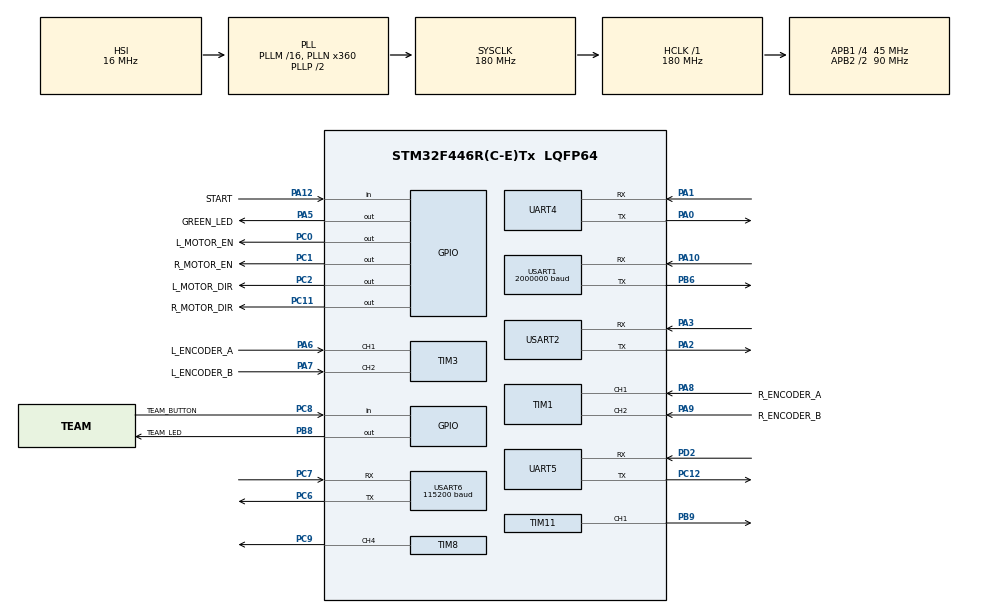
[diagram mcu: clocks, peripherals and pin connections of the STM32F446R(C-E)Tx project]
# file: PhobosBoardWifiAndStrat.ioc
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Mcu.Family=STM32F4
Mcu.Name=STM32F446R(C-E)Tx
Mcu.Package=LQFP64
NVIC.PriorityGroup=NVIC_PRIORITYGROUP_4
NVIC.TIM1_BRK_TIM9_IRQn=true\:0\:0\:false\:false\:true\:true\:true\:true
NVIC.TIM2_IRQn=true\:0\:0\:false\:false\:true\:true\:true\:true
NVIC.TIM4_IRQn=true\:0\:0\:false\:false\:true\:true\:true\:true
NVIC.TIM5_IRQn=true\:0\:0\:false\:false\:true\:true\:true\:true
NVIC.TIM6_DAC_IRQn=true\:0\:0\:false\:false\:true\:true\:true\:true
NVIC.TIM7_IRQn=true\:2\:0\:true\:false\:true\:true\:true\:true
NVIC.UART4_IRQn=true\:0\:0\:false\:false\:true\:true\:true\:true
NVIC.UART5_IRQn=true\:0\:0\:false\:false\:true\:true\:true\:true
NVIC.USART1_IRQn=true\:0\:0\:false\:false\:true\:true\:true\:true
NVIC.USART6_IRQn=true\:0\:0\:false\:false\:true\:true\:true\:true
PA0-WKUP.Mode=Asynchronous
PA0-WKUP.Signal=UART4_TX
PA1.Mode=Asynchronous
PA1.Signal=UART4_RX
PA10.Mode=Asynchronous
PA10.Signal=USART1_RX
PA12.GPIO_Label=START
PA12.GPIO_PuPd=GPIO_PULLDOWN
PA12.Signal=GPIO_Input
PA2.Mode=Asynchronous
PA2.Signal=USART2_TX
PA3.Mode=Asynchronous
PA3.Signal=USART2_RX
PA5.GPIO_Label=GREEN_LED
PA5.Signal=GPIO_Output
PA6.GPIO_Label=L_ENCODER_A
PA6.Signal=S_TIM3_CH1
PA7.GPIO_Label=L_ENCODER_B
PA7.Signal=S_TIM3_CH2
PA8.GPIO_Label=R_ENCODER_A
PA8.Signal=S_TIM1_CH1
PA9.GPIO_Label=R_ENCODER_B
PA9.Signal=S_TIM1_CH2
PB6.Mode=Asynchronous
PB6.Signal=USART1_TX
PB8.GPIO_Label=TEAM_LED
PB8.Signal=GPIO_Output
PB9.Signal=S_TIM11_CH1
PC0.GPIO_Label=L_MOTOR_EN
PC0.Signal=GPIO_Output
PC1.GPIO_Label=R_MOTOR_EN
PC1.Signal=GPIO_Output
PC11.GPIO_Label=R_MOTOR_DIR
PC11.Signal=GPIO_Output
PC12.Mode=Asynchronous
PC12.Signal=UART5_TX
PC2.GPIO_Label=L_MOTOR_DIR
PC2.Signal=GPIO_Output
PC6.Mode=Asynchronous
PC6.Signal=USART6_TX
PC7.Mode=Asynchronous
PC7.Signal=USART6_RX
PC8.GPIO_Label=TEAM_BUTTON
PC8.GPIO_PuPd=GPIO_PULLDOWN
PC8.Signal=GPIO_Input
PC9.Signal=S_TIM8_CH4
PD2.Mode=Asynchronous
PD2.Signal=UART5_RX
ProjectManager.HeapSize=0x200
ProjectManager.StackSize=0x400
ProjectManager.TargetToolchain=STM32CubeIDE
RCC.48MHZClocksFreq_Value=84000000
RCC.AHBFreq_Value=180000000
RCC.APB1CLKDivider=RCC_HCLK_DIV4
RCC.APB1Freq_Value=45000000
RCC.APB1TimFreq_Value=90000000
RCC.APB2CLKDivider=RCC_HCLK_DIV2
RCC.APB2Freq_Value=90000000
RCC.APB2TimFreq_Value=180000000
RCC.CortexFreq_Value=180000000
RCC.FLatency-AdvancedSettings=FLASH_LATENCY_5
RCC.HCLKFreq_Value=180000000
RCC.HSE_VALUE=8000000
RCC.HSI_VALUE=16000000
RCC.PLLN=360
RCC.SYSCLKFreq_VALUE=180000000
RCC.SYSCLKSource=RCC_SYSCLKSOURCE_PLLCLK
RCC.USBFreq_Value=180000000
RCC.VCOOutputFreq_Value=360000000
SH.S_TIM11_CH1.0=TIM11_CH1,PWM Generation1 CH1
SH.S_TIM1_CH1.0=TIM1_CH1,Encoder_Interface
SH.S_TIM1_CH2.0=TIM1_CH2,Encoder_Interface
SH.S_TIM3_CH1.0=TIM3_CH1,Encoder_Interface
SH.S_TIM3_CH2.0=TIM3_CH2,Encoder_Interface
SH.S_TIM8_CH4.0=TIM8_CH4,PWM Generation4 CH4
TIM1.CounterMode=TIM_COUNTERMODE_UP
TIM1.EncoderMode=TIM_ENCODERMODE_TI12
TIM1.IC1Filter=10
TIM11.Channel=TIM_CHANNEL_1
TIM11.Period=1000
TIM11.Prescaler=179
TIM2.Period=999
TIM2.Prescaler=2686
TIM3.AutoReloadPreload=TIM_AUTORELOAD_PRELOAD_ENABLE
TIM3.CounterMode=TIM_COUNTERMODE_UP
TIM3.EncoderMode=TIM_ENCODERMODE_TI12
TIM4.Period=10000-1
TIM4.Prescaler=9000-1
TIM5.Period=90000
TIM5.Prescaler=9
TIM6.Period=99
TIM6.Prescaler=8999
TIM7.AutoReloadPreload=TIM_AUTORELOAD_PRELOAD_DISABLE
TIM7.Period=9999
TIM7.Prescaler=8999
TIM8.AutoReloadPreload=TIM_AUTORELOAD_PRELOAD_DISABLE
TIM8.Channel-PWM\ Generation4\ CH4=TIM_CHANNEL_4
TIM8.Period=1000
TIM8.Prescaler=179
TIM8.Pulse-PWM\ Generation4\ CH4=500
UART4.VirtualMode=Asynchronous
UART5.VirtualMode=Asynchronous
USART1.BaudRate=2000000
USART1.VirtualMode=VM_ASYNC
USART2.VirtualMode=VM_ASYNC
USART6.BaudRate=115200
USART6.Parity=PARITY_NONE
USART6.VirtualMode=VM_ASYNC
VP_TIM11_VS_ClockSourceINT.Mode=Enable_Timer
VP_TIM2_VS_ClockSourceINT.Mode=Internal
VP_TIM4_VS_ClockSourceINT.Mode=Internal
VP_TIM5_VS_ClockSourceINT.Mode=Internal
VP_TIM6_VS_ClockSourceINT.Mode=Enable_Timer
VP_TIM7_VS_ClockSourceINT.Mode=Enable_Timer
VP_TIM8_VS_ClockSourceINT.Mode=Internal
board=NUCLEO-F446RE

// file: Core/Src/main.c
/* USER CODE BEGIN Header */
/**
  ******************************************************************************
  * @file           : main.c
  * @brief          : Main program body
  ******************************************************************************
  * @attention
  *
  * <h2><center>&copy; Copyright (c) 2021 STMicroelectronics.
  * All rights reserved.</center></h2>
  *
  * This software component is licensed by ST under BSD 3-Clause license,
  * the "License"; You may not use this file except in compliance with the
  * License. You may obtain a copy of the License at:
  *                        opensource.org/licenses/BSD-3-Clause
  *
  ******************************************************************************
  */
/* USER CODE END Header */
#include "main.h"
#include "tim.h"
#include "usart.h"
#include "gpio.h"

/* USER CODE BEGIN Includes */
#include "config.h"
#include "propulsion.h"
#include "odometry.h"
#include "robot.h"
#include "bezier.h"
#include "strategy.h"
#include "serial.h"
#include "lidar.h"
#include "avoidance.h"
#include "symetry.h"
#include <stdio.h>
#include <stdlib.h>
#include <math.h>

extern Robot robot;
/* USER CODE END Includes */

void SystemClock_Config(void);
/* USER CODE BEGIN PFP */
#ifdef __GNUC__
#define PUTCHAR_PROTOTYPE int __io_putchar(int ch)
#else
#define PUTCHAR_PROTOTYPE int fputc(int ch, FILE *f)
#endif

PUTCHAR_PROTOTYPE
{
  HAL_UART_Transmit(&huart1, (uint8_t *)&ch, 1, HAL_MAX_DELAY);
  return ch;
}
/* USER CODE END PFP */

/* USER CODE BEGIN 0 */

int _write(int file, char *ptr, int len) {
	int DataIdx;

	for (DataIdx = 0; DataIdx < len; DataIdx++) {
		HAL_UART_Transmit(&huart2, (uint8_t *) ptr++, 1, HAL_MAX_DELAY);
	}
	return len;
}

/* USER CODE END 0 */

int main(void)
{

  /* MCU Configuration--------------------------------------------------------*/

  /* Reset of all peripherals, Initializes the Flash interface and the Systick. */
  HAL_Init();

  /* Configure the system clock */
  SystemClock_Config();

  /* Initialize all configured peripherals */
  MX_GPIO_Init();
  MX_TIM1_Init();
  MX_TIM8_Init();
  MX_TIM11_Init();
  MX_TIM3_Init();
  MX_TIM7_Init();
  MX_TIM2_Init();
  MX_TIM6_Init();
  MX_TIM4_Init();
  MX_USART2_UART_Init();
  MX_TIM5_Init();
  MX_USART6_UART_Init();
  MX_UART4_Init();
  MX_UART5_Init();
  MX_USART1_UART_Init();
  /* USER CODE BEGIN 2 */
  HAL_TIM_Base_Start(&htim1);
  HAL_TIM_Base_Start(&htim3);
  HAL_TIM_Base_Start_IT(&htim5);
  HAL_TIM_Base_Start_IT(&htim4);

  HAL_UART_Receive_IT(&huart4, &lidarData, 1);
  HAL_UART_Receive_IT(&huart6, &armData, 1);
  HAL_UART_Receive_IT(&huart1, &wifiDataRX, 1);
  WifiUartTXActivation(1);

  //HAL_GPIO_TogglePin(GREEN_LED_GPIO_Port, GREEN_LED_Pin);
  printf("Initializing propulsion system...");
  propulsion_initialize();
  propulsion_enableMotors();
  avoidance_initialize();
  HAL_Delay(200);
  printf(" Done.\r\n");

  //HAL_GPIO_TogglePin(GREEN_LED_GPIO_Port, GREEN_LED_Pin);

  robot.waitingForOnSiteAction = false;
  robot.waitingForOnMoveAction = false;
  robot.team = GREEN;
  float t = 0;

  HAL_Delay(200);
  printf(" Done.\r\n");

  //HAL_GPIO_TogglePin(GREEN_LED_GPIO_Port, GREEN_LED_Pin);
  Strategy* strategy;
  int curveIndex = 0;
  int onSiteActionIndex = 0;
  int onMoveActionIndex = 0;

  //HAL_GPIO_TogglePin(GREEN_LED_GPIO_Port, GREEN_LED_Pin);
  printf("Initializing lidar...");
  lidar_initialize();
  HAL_Delay(200);
  printf(" Done.\r\n");

  bool waitingForMatchStart = true;
  printf("Waiting for start...\r\n");
  pData[0] = 'o';
  int a = 0;
  HAL_UART_Receive_IT(&huart6, pData, 1);
  while ((waitingForMatchStart == true)) {
	  if(wifiDataRX==0x84){
		  waitingForMatchStart=0;

		  strategy = strategy_initialize(7);
	  }
	  else{
		  waitingForMatchStart = HAL_GPIO_ReadPin(START_GPIO_Port, START_Pin);
	  }
	  if((pData[0] >= '0' && pData[0] <= '9')  && a == 0)
	  {
		  a = 1;
	  	  switch(pData[0])
	      	{
	  	  	case '0':
	  	  		printf("Initializing strategy...0");
	  	  		strategy = strategy_initialize(0);
	       	    break;
	      	case '1':
	      		printf("Initializing strategy...1");
	      		strategy = strategy_initialize(1);
	            break;
	      	case '2':
	      		printf("Initializing strategy...2");
	      		strategy = strategy_initialize(2);
	      		break;
	        case '3':
	        	printf("Initializing strategy...3");
	        	strategy = strategy_initialize(3);
	        	break;
	        case '4':
	        	printf("Initializing strategy...4");
	        	strategy = strategy_initialize(4);
	        	break;
	        case '5':
	        	printf("Initializing strategy...5");
	        	strategy = strategy_initialize(5);
	        	switchTeam(strategy);
	            break;
	        case '6':
	        	printf("Initializing strategy...6");
	        	strategy = strategy_initialize(6);
	        	switchTeam(strategy);
	        	break;
	        case '7':
	        	printf("Initializing strategy...7");
	        	strategy = strategy_initialize(7);
	        	switchTeam(strategy);
	            break;
	        case '8':
	        	printf("Initializing strategy...8");
	        	strategy = strategy_initialize(8);
	        	switchTeam(strategy);
	        	break;
	        case '9':
	        	printf("Initializing strategy...9");
	        	strategy = strategy_initialize(9);
	        	switchTeam(strategy);
	        	break;
	        default:
	            break;
	      	}
	  }

	  /*if (HAL_GPIO_ReadPin(TEAM_BUTTON_GPIO_Port, TEAM_BUTTON_Pin) && !teamButtonVal) {
		  switchTeam(strategy);
	  }

	  HAL_GPIO_WritePin(TEAM_LED_GPIO_Port, TEAM_LED_Pin, robot.team == BLUE);
	  teamButtonVal = HAL_GPIO_ReadPin(TEAM_BUTTON_GPIO_Port, TEAM_BUTTON_Pin);*/

	  //HAL_Delay(50);
	  //printf("%d\r\n", teamButtonVal);
	  //HAL_GPIO_WritePin(GREEN_LED_GPIO_Port, GREEN_LED_Pin, teamButtonVal);
  }

  printf("Initializing odometry...");
  Vector2 start = strategy->path[0]->p1;
  Vector2 startTangent = strategy->path[0]->p2;
  float startAngle = vector2_angle(vector2_diff(startTangent, start));
  odometry_setPosition(start.x, start.y);
  odometry_setAngle(startAngle);
  robot.measuredSpeed = 0;
  HAL_Delay(200);
  printf(" Done.\r\n");

  printf("Go!\r\n");

  //odometry_setPosition(0, 0);
  //odometry_setAngle(0);

  /* USER CODE END 2 */

  /* Infinite loop */
  /* USER CODE BEGIN WHILE */

  /*while (1) {
	  for (int i=0; i<16; i++) {
		  printf("%d ", i);
		  printf("(%d) ", lidar_timeSinceData[i]);
	  }
	  printf("\r\n");

	  if (!lidar_frontIsClear()) {
		  printf("Front stop!\r\n");
	  }
	  if (!lidar_backIsClear()) {
		  printf("Back stop!\r\n");
	  }

	  HAL_Delay(100);
  }*/

  while (onSiteActionIndex < strategy->onSiteActionsLengths[0]) {
	  /*uint8_t action = strategy->onSiteActions[0][onSiteActionIndex];
	  serial_send(&action, 1, 6);*/
	  //HAL_UART_Transmit(&huart6, strategy->onSiteActions[0], 4, 1);
	  robot.waitingForOnSiteAction = true;

	  printf("Waiting for 0xFF...\r\n");
	  printf("%d\r\n", robot.waitingForOnSiteAction);
	  while (robot.waitingForOnSiteAction) {}
	  printf("%d\r\n", robot.waitingForOnSiteAction);
	  onSiteActionIndex++;
  }

  printf("About to move...\r\n");
  wifiDataTX=0xC0;
  serial_send(&wifiDataTX,1,1);
  while (1) {
	  if (onMoveActionIndex < strategy->onMoveActionsLengths[curveIndex]
              && !robot.waitingForOnMoveAction
			  && !robot.waitingForOnSiteAction) {
		  robot.waitingForOnMoveAction = true;
	  }

	  avoidance_update(t, strategy->directions[curveIndex]);

	  if (avoidanceState == PATH_CLEAR && curveIndex < strategy->length) {
		  t = propulsion_followBezier(
				  strategy->path[curveIndex],
				  strategy->directions[curveIndex],
				  strategy->speeds[curveIndex],
				  strategy->speeds[curveIndex+1],
				  false
		  );
	  } else if (avoidanceState == PATH_OBSTRUCTED) {
		  propulsion_setSpeeds(0, 0);
	  } else if (avoidanceState == BACKTRACKING) {
		  t = propulsion_followBezier(
				  strategy->path[curveIndex],
				  strategy->directions[curveIndex],
				  strategy->speeds[curveIndex],
				  strategy->speeds[curveIndex+1],
				  true
		  );
	  }

	  if (t > 0.99 && !robot.waitingForOnMoveAction) {
	      curveIndex = (curveIndex + 1);// % strategy->length;
	      onSiteActionIndex = 0;
	      while (onSiteActionIndex < strategy->onSiteActionsLengths[curveIndex]) {
	    	  uint8_t action = strategy->onSiteActions[curveIndex][onSiteActionIndex];
	    	  serial_send(&action, 1, 6);
	    	  robot.waitingForOnSiteAction = true;

	    	  while (robot.waitingForOnSiteAction) {
	    		  propulsion_setSpeeds(0, 0);
	    		  HAL_Delay(2000);
	    		  robot.waitingForOnSiteAction = false;
	    	  }
	    	  onSiteActionIndex++;
	      }
	      onMoveActionIndex = 0;
	  }

	  if (curveIndex == strategy->length) {
		  break;
	  }

    /* USER CODE END WHILE */

    /* USER CODE BEGIN 3 */
  }
  propulsion_disableMotors();
  printf("Finished.\r\n");

  while (1) {

  }
  /* USER CODE END 3 */
}

void SystemClock_Config(void)
{
  RCC_OscInitTypeDef RCC_OscInitStruct = {0};
  RCC_ClkInitTypeDef RCC_ClkInitStruct = {0};

  /** Configure the main internal regulator output voltage
  */
  __HAL_RCC_PWR_CLK_ENABLE();
  __HAL_PWR_VOLTAGESCALING_CONFIG(PWR_REGULATOR_VOLTAGE_SCALE1);

  /** Initializes the RCC Oscillators according to the specified parameters
  * in the RCC_OscInitTypeDef structure.
  */
  RCC_OscInitStruct.OscillatorType = RCC_OSCILLATORTYPE_HSI;
  RCC_OscInitStruct.HSIState = RCC_HSI_ON;
  RCC_OscInitStruct.HSICalibrationValue = RCC_HSICALIBRATION_DEFAULT;
  RCC_OscInitStruct.PLL.PLLState = RCC_PLL_ON;
  RCC_OscInitStruct.PLL.PLLSource = RCC_PLLSOURCE_HSI;
  RCC_OscInitStruct.PLL.PLLM = 16;
  RCC_OscInitStruct.PLL.PLLN = 360;
  RCC_OscInitStruct.PLL.PLLP = RCC_PLLP_DIV2;
  RCC_OscInitStruct.PLL.PLLQ = 2;
  RCC_OscInitStruct.PLL.PLLR = 2;
  if (HAL_RCC_OscConfig(&RCC_OscInitStruct) != HAL_OK)
  {
    Error_Handler();
  }

  /** Activate the Over-Drive mode
  */
  if (HAL_PWREx_EnableOverDrive() != HAL_OK)
  {
    Error_Handler();
  }

  /** Initializes the CPU, AHB and APB buses clocks
  */
  RCC_ClkInitStruct.ClockType = RCC_CLOCKTYPE_HCLK|RCC_CLOCKTYPE_SYSCLK
                              |RCC_CLOCKTYPE_PCLK1|RCC_CLOCKTYPE_PCLK2;
  RCC_ClkInitStruct.SYSCLKSource = RCC_SYSCLKSOURCE_PLLCLK;
  RCC_ClkInitStruct.AHBCLKDivider = RCC_SYSCLK_DIV1;
  RCC_ClkInitStruct.APB1CLKDivider = RCC_HCLK_DIV4;
  RCC_ClkInitStruct.APB2CLKDivider = RCC_HCLK_DIV2;

  if (HAL_RCC_ClockConfig(&RCC_ClkInitStruct, FLASH_LATENCY_5) != HAL_OK)
  {
    Error_Handler();
  }
}

void Error_Handler(void)
{
  /* USER CODE BEGIN Error_Handler_Debug */
  /* User can add his own implementation to report the HAL error return state */
  __disable_irq();
  printf("A runtime error occurred.\r\n");
  while (1) {
  }
  /* USER CODE END Error_Handler_Debug */
}
